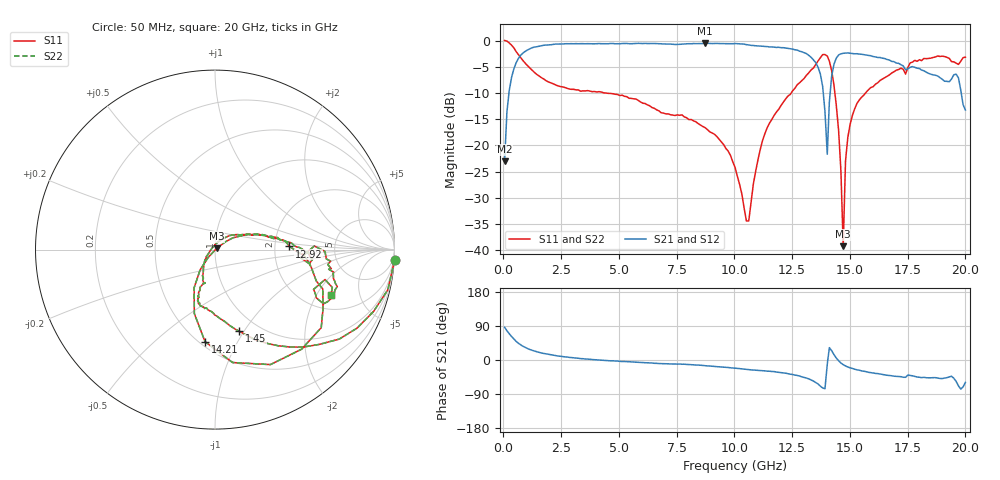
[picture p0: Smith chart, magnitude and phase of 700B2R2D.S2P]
!  American Technical Ceramics  Date:  3/13/98
!  One Norden Lane
!  Huntington Station,  NY.  11746-2102
!  Tel:  (516) 547-5700  Fax:  (516) 547-5748
!  Part Number  700B2R2D
!  Description: Porcelain, High Q, Low ESR
!  Application: Bypass, Coupling, Timing, Feedback
!  Tuning, Impedance Match, Blocking
# GHZ S DB R 50
! Freq  |S11|  S11 Ph  |S21|  S21 Ph  |S12|  S12 Ph  |S22|  S22 Ph
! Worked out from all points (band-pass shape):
!   201 points, 50 MHz to 20 GHz, reference 50 ohm
!   highest |S21| = -0.52 dB at 8.73 GHz (marker M1); lowest = -23.1 dB at 50 MHz (marker M2)
!   |S21| within 3 dB of the highest: 635.5 MHz to 13.39 GHz (12.75 GHz wide, 182 % of centre); 14.4 GHz to 16.55 GHz (2.158 GHz wide, 13.9 % of centre)
!   lowest |S11| = -39.2 dB at 14.71 GHz (marker M3), VSWR 1.02, Z = 50.9 + j0.648 ohm
!   |S11| at or under -10 dB: 4.407 GHz to 12.46 GHz (8.053 GHz wide, 95.5 % of centre); 14.35 GHz to 15.68 GHz (1.33 GHz wide, 8.86 % of centre)
!   |S22| runs from -39.2 to 0.0 dB; largest |S21 - S12| = 0
!   S11 on the Smith chart (normalised r, x): 50 MHz: -1, -34; 1.45 GHz: 0.81, -0.95; 12.92 GHz: 2.41, +0.10; 14.21 GHz: 0.53, -0.74; 20 GHz: 2.71, -2.68
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0.05  0.02 -3.4  -23.06 86.3  -23.06 86.3  0.02 -3.4
0.15  -0.10 -13.1  -13.62 77.3  -13.62 77.3  -0.10 -13.1
0.45  -1.38 -35.8  -5.41 55.6  -5.41 55.6  -1.38 -35.8
1.45  -6.48 -73.5  -1.17 21.6  -1.17 21.6  -6.48 -73.5
3.44  -9.60 -99.6  -0.59 3.4  -0.59 3.4  -9.60 -99.6
6.73  -13.42 -110.3  -0.58 -9.4  -0.58 -9.4  -13.42 -110.3
8.73  -16.63 -116.7  -0.52 -15.0  -0.52 -15.0  -16.63 -116.7
10.03  -24.24 -141.4  -0.57 -21.5  -0.57 -21.5  -24.24 -141.4
10.62  -34.44 119.9  -0.83 -25.7  -0.83 -25.7  -34.44 119.9
11.32  -17.76 39.2  -1.13 -28.7  -1.13 -28.7  -17.76 39.2
12.92  -7.64 2.4  -2.14 -44.5  -2.14 -44.5  -7.64 2.4
13.42  -5.25 -10.6  -3.68 -55.6  -3.68 -55.6  -5.25 -10.6
13.82  -2.68 -36.3  -8.74 -73.7  -8.74 -73.7  -2.68 -36.3
14.02  -2.96 -64.3  -21.71 -11.4  -21.71 -11.4  -2.96 -64.3
14.21  -5.75 -96.2  -6.81 24.7  -6.81 24.7  -5.75 -96.2
14.51  -17.12 -126.3  -2.75 -1.9  -2.75 -1.9  -17.12 -126.3
14.71  -39.25 35.8  -2.43 -12.3  -2.43 -12.3  -39.25 35.8
14.81  -22.96 36.9  -2.39 -15.7  -2.39 -15.7  -22.96 36.9
15.11  -14.26 25.7  -2.49 -22.3  -2.49 -22.3  -14.26 25.7
16.71  -6.56 1.4  -3.72 -40.8  -3.72 -40.8  -6.56 1.4
19.6  -4.30 -23.6  -6.42 -56.5  -6.42 -56.5  -4.30 -23.6
20  -3.17 -21.6  -13.26 -59.1  -13.26 -59.1  -3.17 -21.6
